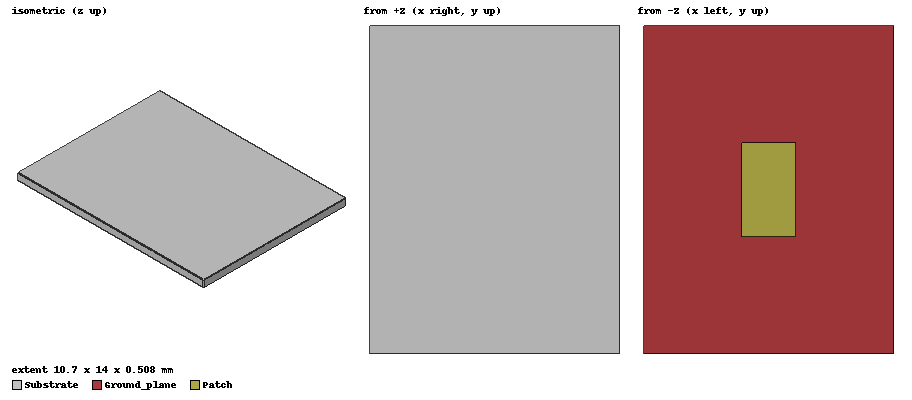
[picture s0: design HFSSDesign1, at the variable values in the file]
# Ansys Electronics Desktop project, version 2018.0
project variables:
  $Wp = 4mm
  $Lp = 2.31mm
  $Lg = 10.696mm
  $Wg = 14mm
  $h = -0.508mm
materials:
  vacuum: permittivity=1
  Rogers RT/duroid 5880 (tm): permittivity=2.2 dielectric_loss_tangent=0.0009

design HFSSDesign1 (HFSS, DrivenModal, model units mm)
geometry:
  Substrate [Rogers RT/duroid 5880 (tm)] = box(corner=(-$Lg/2, -$Wg/2, 0mm), size=($Lg, $Wg, -$h))
  Ground_plane = rectangle(corner=(-$Lg/2, -$Wg/2, 0mm), x_size=$Lg, y_size=$Wg)
  Patch = rectangle(corner=(-$Lp/2, -$Wp/2, 0mm), x_size=$Lp, y_size=$Wp)
